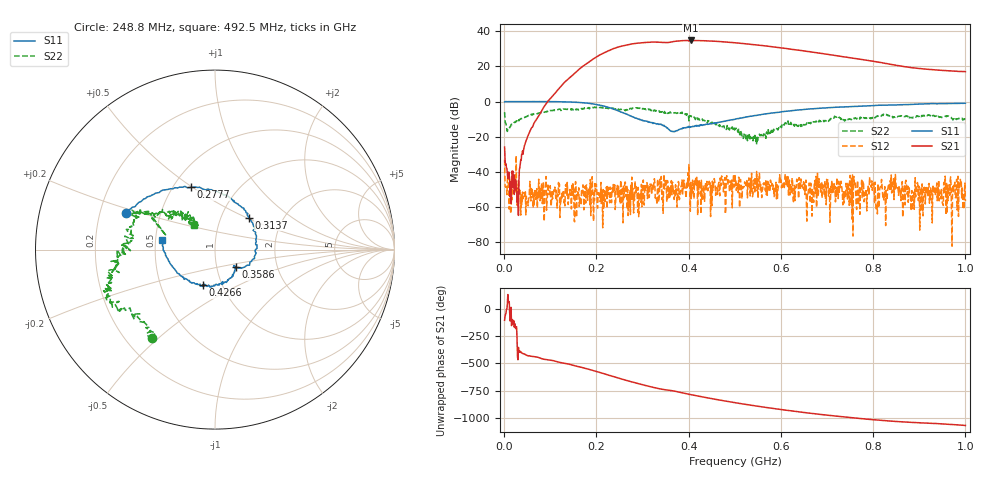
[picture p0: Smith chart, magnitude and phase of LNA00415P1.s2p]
! Created with skrf 1.9.0 (http://scikit-rf.org).
# Hz S RI R 50.0
!freq ReS11 ImS11 ReS21 ImS21 ReS12 ImS12 ReS22 ImS22
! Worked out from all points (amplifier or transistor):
!   1001 points, 1 MHz to 1 GHz, reference 50 ohm
!   highest |S21| = 34.8 dB at 404.6 MHz (marker M1)
!   |S21| within 3 dB of that: 258.2 MHz to 563.1 MHz (304.9 MHz wide, 74.2 % of centre)
!   unconditionally stable (mu >= 1): 210 MHz to 252.7 MHz; 301.7 MHz to 400.5 MHz; 400.7 MHz to end of sweep (the widest 3 of 39)
!   at 166.8 MHz: K = 3.16, MAG = 31.2 dB, |S12| = -58.9 dB
!   at 500.5 MHz: K = 1.30, MAG = 34.1 dB, |S12| = -41.3 dB
!   at 1 GHz: K = 8.25, MAG = 24.6 dB, |S12| = -56.6 dB
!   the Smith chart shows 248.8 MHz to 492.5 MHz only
!   S11 on the Smith chart (normalised r, x): 248.8 MHz: 0.31, +0.18; 277.7 MHz: 0.61, +0.49; 313.7 MHz: 1.35, +0.52; 358.6 MHz: 1.24, -0.25; 426.6 MHz: 0.81, -0.34; 492.5 MHz: 0.54, +0.06
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1000000  0.9857 0.00445  -0.0125 -0.0493  -0.0201 0.0101  0.3657 0.3469
1.08892e8  0.5275 -0.8461  -0.7583 -1.46  0.00189 -0.00255  0.4171 -0.3669
1.67833e8  -0.2222 -0.9065  -9.479 -0.6582  0.00297 0.00126  0.0484 -0.6329
2.12788e8  -0.6798 -0.3508  -14.95 17.59  0.00021 -0.00146  -0.2229 -0.6358
2.29771e8  -0.657 -0.0616  -9.19 27.75  0.00177 -0.00327  -0.2752 -0.5958
2.48752e8  -0.4963 0.2012  3.764 35.75  -0.00141 -0.00146  -0.3536 -0.4931
2.77723e8  -0.1327 0.3471  28.85 33.14  0.00138 -0.000954  -0.579 -0.2931
3.13687e8  0.1894 0.1787  47.98 7.818  0.00118 0.00143  -0.5659 -0.1555
3.34666e8  0.2262 0.00047  48.08 -9.259  0.00137 0.000114  -0.5314 -0.041
3.58642e8  0.1184 -0.0984  43.01 -22.64  -0.000784 0.00173  -0.4763 0.0867
3.77623e8  0.1131 -0.1081  39.23 -35.82  -0.00158 0.00507  -0.4627 0.1923
4.04596e8  0.0394 -0.1892  21.24 -50.54  -0.000122 0.00505  -0.3276 0.2031
4.26574e8  -0.0691 -0.1982  4.382 -53.83  -0.000597 -0.000232  -0.2306 0.2033
4.55545e8  -0.2125 -0.1286  -16.39 -49.46  0.00206 0.00611  -0.1692 0.1744
4.92508e8  -0.296 0.0528  -34.21 -33.94  0.00253 -0.00218  -0.1188 0.1398
5.005e8  -0.3006 0.1006  -36.97 -29.84  0.00711 -0.00483  -0.1267 0.099
5.4046e8  -0.244 0.3099  -40.81 -8.856  0.00351 -0.00133  -0.0883 0.0242
5.88412e8  -0.0568 0.4837  -33.8 10.65  0.00183 -0.00253  -0.1604 -0.0454
6.67333e8  0.3167 0.5329  -12.68 22.07  0.000373 0.000409  -0.2668 0.00732
7.49251e8  0.6067 0.3812  2.095 17.59  -0.00618 -0.00166  -0.3073 0.0928
8.34166e8  0.7826 0.1484  7.398 9.118  -0.00279 0.00369  -0.3547 0.1867
1e9  0.8071 -0.3958  7.029 1.171  -0.00147 0.000229  -0.0405 0.3138
